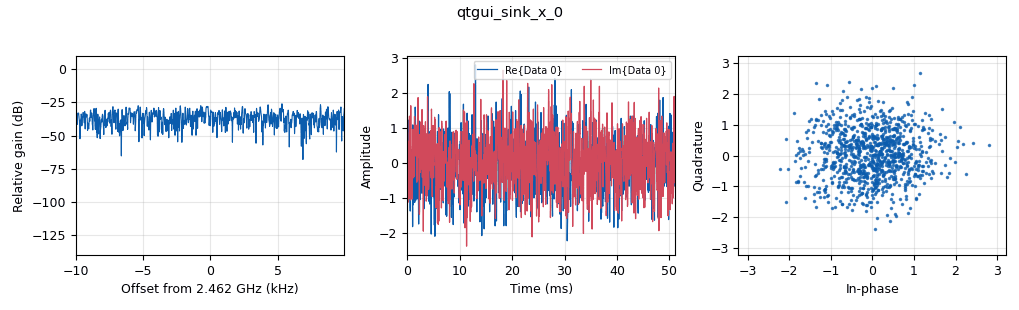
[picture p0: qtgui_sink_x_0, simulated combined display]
options:
  parameters:
    author: Simon & Andreas
    generate_options: qt_gui
    id: Interference_transmitterV2
    output_language: python
    title: Interference Transmitter V2
  states: {}

blocks:
- name: rf_gain
  id: variable_qtgui_range
  parameters:
    label: RF Gain
    outputmsgname: value
    showports: 'False'
    start: '0'
    step: '1'
    stop: '90'
    value: '20'
  states: {}
- name: samp_rate
  id: variable_qtgui_range
  parameters:
    label: Sample rate
    outputmsgname: value
    showports: 'False'
    start: '20000'
    step: '100'
    stop: '100000'
    value: '20000'
  states: {}
- name: tuning
  id: variable_qtgui_range
  parameters:
    label: Frequency
    outputmsgname: value
    showports: 'False'
    start: '2400000000'
    step: '200000'
    stop: '2500000000'
    value: '2462000000'
  states: {}
- name: analog_fastnoise_source_x_0
  id: analog_fastnoise_source_x
  parameters:
    amp: '1'
    noise_type: analog.GR_GAUSSIAN
    samples: '8192'
    seed: '0'
    type: complex
  states: {}
- name: analog_noise_source_x_0
  id: analog_noise_source_x
  parameters:
    amp: '1'
    noise_type: analog.GR_UNIFORM
    seed: '0'
    type: complex
  states: {}
- name: blocks_add_xx_0
  id: blocks_add_xx
  parameters:
    type: complex
  states: {}
- name: channels_phase_noise_gen_0
  id: channels_phase_noise_gen
  parameters:
    alpha: '0.5'
    noise_mag: '1'
  states: {}
- name: qtgui_sink_x_0
  id: qtgui_sink_x
  parameters:
    bw: samp_rate
    fc: tuning
    fftsize: '1024'
    showports: 'True'
    showrf: 'True'
    type: complex
  states: {}
- name: uhd_usrp_sink_0
  id: uhd_usrp_sink
  parameters:
    ant0: '"TX/RX"'
    center_freq0: tuning
    gain0: rf_gain
    samp_rate: samp_rate
    sync: none
    type: fc32
  states: {state: disabled}

connections:
- [analog_fastnoise_source_x_0, '0', blocks_add_xx_0, '0']
- [analog_noise_source_x_0, '0', channels_phase_noise_gen_0, '0']
- [blocks_add_xx_0, '0', qtgui_sink_x_0, '0']
- [blocks_add_xx_0, '0', uhd_usrp_sink_0, '0']
- [channels_phase_noise_gen_0, '0', blocks_add_xx_0, '1']
- [qtgui_sink_x_0, freq, uhd_usrp_sink_0, command]

metadata:
  file_format: 1
  grc_version: 3.10.4.0
